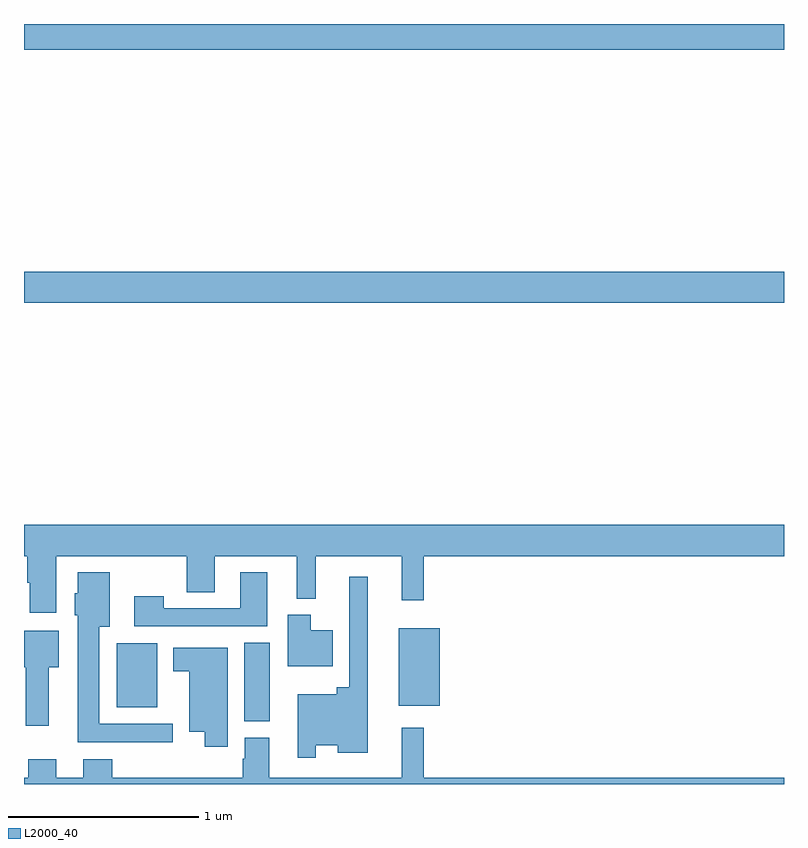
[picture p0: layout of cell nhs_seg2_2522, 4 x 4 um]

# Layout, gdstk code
import gdstk
lib = gdstk.Library(unit=1e-6, precision=1e-09)
def R(c, l, rs):  # rectangles x0, y0, x1, y1
    for r in rs: c.add(gdstk.rectangle(r[:2], r[2:], *l))
def P(c, l, *ps):  # polygons
    for p in ps: c.add(gdstk.Polygon(p, *l))
L2000_40 = (2000, 40)

nhs_seg2_2522 = lib.new_cell('nhs_seg2_2522')
R(nhs_seg2_2522, L2000_40, [(244.16,616.129,244.294,616.544), (243.488,616.205,243.7,616.54), (244.973,616.211,245.188,616.621), (243,618.332,247,618.496), (243,619.664,247,619.8)])
P(nhs_seg2_2522, L2000_40, [(243.169,617),(243.856,617),(243.856,616.81),(244.003,616.81),(244.003,617),(244.436,617),(244.436,616.775),(244.535,616.775),(244.535,617),(244.988,617),(244.988,616.767),(245.105,616.767),(245.105,617),(247,617),(247,617.164),(243,617.164),(243,617),(243.017,617),(243.017,616.859),(243.029,616.859),(243.029,616.701),(243.169,616.701)],
  [(244.279,616.915),(244.139,616.915),(244.139,616.725),(243.735,616.725),(243.735,616.789),(243.579,616.789),(243.579,616.629),(244.279,616.629)],
  [(243.784,616.116),(243.397,616.116),(243.397,616.628),(243.451,616.628),(243.451,616.915),(243.284,616.915),(243.284,616.803),(243.266,616.803),(243.266,616.689),(243.284,616.689),(243.284,616.019),(243.784,616.019)],
  [(244.536,616.004),(244.652,616.004),(244.652,615.965),(244.81,615.965),(244.81,616.891),(244.713,616.891),(244.713,616.309),(244.645,616.309),(244.645,616.273),(244.44,616.273),(244.44,615.939),(244.536,615.939)],
  [(244.624,616.609),(244.51,616.609),(244.51,616.69),(244.388,616.69),(244.388,616.421),(244.624,616.421)],
  [(243.13,616.415),(243.184,616.415),(243.184,616.606),(243,616.606),(243,616.415),(243.008,616.415),(243.008,616.107),(243.13,616.107)],
  [(244.072,616.516),(243.785,616.516),(243.785,616.394),(243.869,616.394),(243.869,616.076),(243.95,616.076),(243.95,615.996),(244.072,615.996)],
  [(247,615.832),(245.105,615.832),(245.105,616.096),(244.988,616.096),(244.988,615.832),(244.291,615.832),(244.291,616.044),(244.163,616.044),(244.163,615.933),(244.151,615.933),(244.151,615.832),(243.464,615.832),(243.464,615.931),(243.311,615.931),(243.311,615.832),(243.169,615.832),(243.169,615.931),(243.022,615.931),(243.022,615.832),(243,615.832),(243,615.8),(247,615.8)])

lib.write_gds('nhs_seg2_2522.gds')
